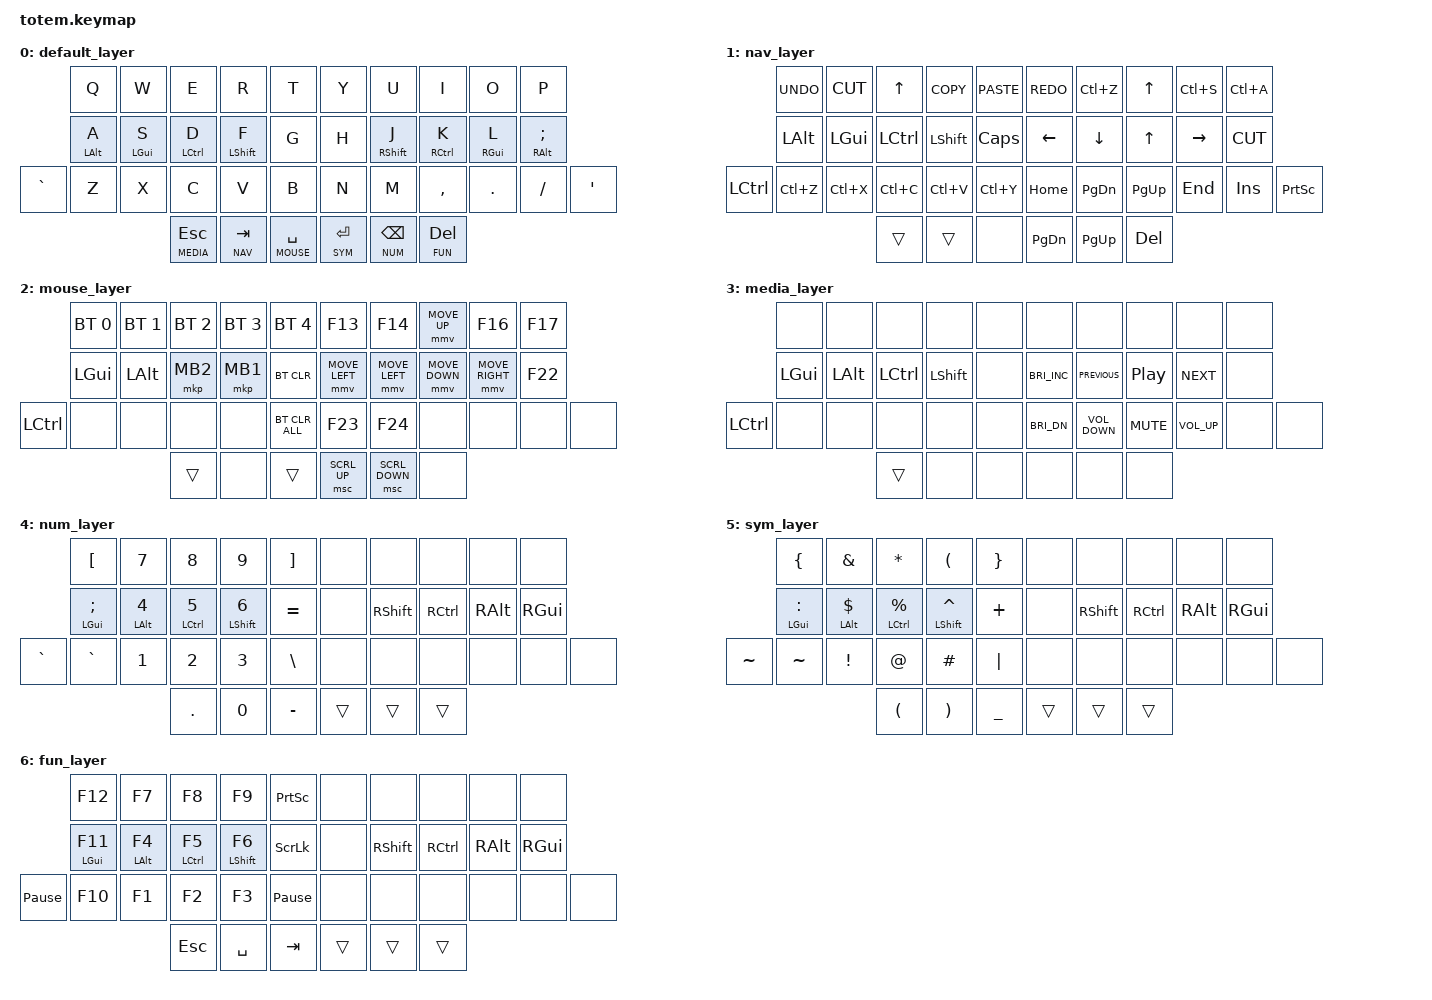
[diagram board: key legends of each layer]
//                                                        ▀▀▀▀▀     ▀▀▀▀▀          ▀▀█▀▀
//                                                        ▄▀▀▀▄  ▄  ▄▀▀▀▄  ▄  ▄▀▀▀▄  █  ▄▀▀▀▄
//                                                        █   █  █  █   █  █  █   █  █  █   █
//                                                         ▀▀▀   █   ▀▀▀   █   ▀▀▀   ▀   ▀▀▀
//                                                               █      ▄▄▄█▄▄▄    █   █  
//                                                               ▀      █  █  █     █▄█
//                                                             ▀▀▀▀▀    █  █  █      ▀
//                                                                      ▀  ▀  ▀
//
// Optimized Totem keymap - transferred and enhanced from Corne layout.
// Focused on coding efficiency with improved homerow mods and layer organization

#include <behaviors.dtsi>
#include <dt-bindings/zmk/bt.h>
#include <dt-bindings/zmk/keys.h>
#include <dt-bindings/zmk/pointing.h>

#define DEFAULT 0
#define NAV     1
#define MOUSE   2
#define MEDIA   3
#define NUM     4
#define SYM     5
#define FUN     6

/ {
    behaviors {
        hm: homerow_mods {
            compatible = "zmk,behavior-hold-tap";
            label = "HOMEROW_MODS";
            #binding-cells = <2>;
            tapping-term-ms = <200>;
            quick-tap-ms = <175>;
            require-prior-idle-ms = <200>;
            flavor = "tap-preferred";
            bindings = <&kp>, <&kp>;
        };

        // Optimized for coding: shorter tapping term for brackets/symbols

        hm_fast: homerow_mods_fast {
            compatible = "zmk,behavior-hold-tap";
            label = "HOMEROW_MODS_FAST";
            #binding-cells = <2>;
            tapping-term-ms = <150>;
            quick-tap-ms = <125>;
            require-prior-idle-ms = <100>;
            flavor = "tap-preferred";
            bindings = <&kp>, <&kp>;
        };

        // Layer-tap optimized for thumb keys

        lt_balanced: layer_tap_balanced {
            compatible = "zmk,behavior-hold-tap";
            label = "LAYER_TAP_BALANCED";
            #binding-cells = <2>;
            tapping-term-ms = <200>;
            quick-tap-ms = <175>;
            flavor = "balanced";
            bindings = <&mo>, <&kp>;
        };
    };

    combos {
        compatible = "zmk,combos";

        // Essential coding combos
    };

    keymap {
        compatible = "zmk,keymap";

        default_layer {
            bindings = <
           &kp Q       &kp W       &kp E                   &kp R                 &kp T                       &kp Y                 &kp U                  &kp I                 &kp O       &kp P
           &hm LALT A  &hm LGUI S  &hm LCTRL D             &hm LSHFT F           &kp G                       &kp H                 &hm RSHFT J            &hm RCTRL K           &hm RGUI L  &hm RALT SEMI
&kp GRAVE  &kp Z       &kp X       &kp C                   &kp V                 &kp B                       &kp N                 &kp M                  &kp COMMA             &kp DOT     &kp FSLH       &kp APOS
                                   &lt_balanced MEDIA ESC  &lt_balanced NAV TAB  &lt_balanced MOUSE SPACE    &lt_balanced SYM RET  &lt_balanced NUM BSPC  &lt_balanced FUN DEL
            >;
        };

        nav_layer {
            bindings = <
           &kp K_UNDO  &kp K_CUT  &kp UP_ARROW  &kp K_COPY  &kp K_PASTE    &kp K_REDO     &kp LC(Z)       &kp UP_ARROW  &kp LC(S)  &kp LC(A)
           &kp LALT    &kp LGUI   &kp LCTRL     &kp LSHFT   &kp CAPS       &kp LEFT       &kp DOWN_ARROW  &kp UP_ARROW  &kp RIGHT  &kp K_CUT
&kp LCTRL  &kp LC(Z)   &kp LC(X)  &kp LC(C)     &kp LC(V)   &kp LC(Y)      &kp HOME       &kp PG_DN       &kp PG_UP     &kp END    &kp INSERT  &kp PSCRN
                                  &trans        &trans      &none          &kp PAGE_DOWN  &kp PAGE_UP     &kp DEL
            >;
        };

        mouse_layer {
            bindings = <
           &bt BT_SEL 0  &bt BT_SEL 1  &bt BT_SEL 2  &bt BT_SEL 3  &bt BT_SEL 4      &kp F13         &kp F14         &mmv MOVE_UP    &kp F16          &kp F17
           &kp LGUI      &kp LALT      &mkp MB2      &mkp MB1      &bt BT_CLR        &mmv MOVE_LEFT  &mmv MOVE_LEFT  &mmv MOVE_DOWN  &mmv MOVE_RIGHT  &kp F22
&kp LCTRL  &none         &none         &none         &none         &bt BT_CLR_ALL    &kp F23         &kp F24         &none           &none            &none    &none
                                       &trans        &none         &trans            &msc SCRL_UP    &msc SCRL_DOWN  &none
            >;
        };

        media_layer {
            bindings = <
           &none     &none     &none      &none      &none    &none                 &none              &none             &none            &none
           &kp LGUI  &kp LALT  &kp LCTRL  &kp LSHFT  &none    &kp C_BRIGHTNESS_INC  &kp C_PREVIOUS     &kp C_PLAY_PAUSE  &kp C_NEXT       &none
&kp LCTRL  &none     &none     &none      &none      &none    &kp C_BRI_DN          &kp C_VOLUME_DOWN  &kp C_MUTE        &kp C_VOLUME_UP  &none  &none
                               &trans     &none      &none    &none                 &none              &none
            >;
        };

        num_layer {
            bindings = <
           &kp LBKT            &kp N7            &kp N8             &kp N9             &kp RBKT     &none   &none      &none      &none     &none
           &hm_fast LGUI SEMI  &hm_fast LALT N4  &hm_fast LCTRL N5  &hm_fast LSHFT N6  &kp EQUAL    &none   &kp RSHFT  &kp RCTRL  &kp RALT  &kp RGUI
&kp GRAVE  &kp GRAVE           &kp N1            &kp N2             &kp N3             &kp BSLH     &none   &none      &none      &none     &none     &none
                                                 &kp DOT            &kp N0             &kp MINUS    &trans  &trans     &trans
            >;
        };

        sym_layer {
            bindings = <
           &kp LBRC             &kp AMPS            &kp STAR              &kp LPAR              &kp RBRC     &none   &none      &none      &none     &none
           &hm_fast LGUI COLON  &hm_fast LALT DLLR  &hm_fast LCTRL PRCNT  &hm_fast LSHFT CARET  &kp PLUS     &none   &kp RSHFT  &kp RCTRL  &kp RALT  &kp RGUI
&kp TILDE  &kp TILDE            &kp EXCL            &kp AT                &kp HASH              &kp PIPE     &none   &none      &none      &none     &none     &none
                                                    &kp LPAR              &kp RPAR              &kp UNDER    &trans  &trans     &trans
            >;
        };

        fun_layer {
            bindings = <
                 &kp F12            &kp F7            &kp F8             &kp F9             &kp PSCRN          &none   &none      &none      &none     &none
                 &hm_fast LGUI F11  &hm_fast LALT F4  &hm_fast LCTRL F5  &hm_fast LSHFT F6  &kp SLCK           &none   &kp RSHFT  &kp RCTRL  &kp RALT  &kp RGUI
&kp PAUSE_BREAK  &kp F10            &kp F1            &kp F2             &kp F3             &kp PAUSE_BREAK    &none   &none      &none      &none     &none     &none
                                                      &kp ESC            &kp SPACE          &kp TAB            &trans  &trans     &trans
            >;
        };
    };
};
